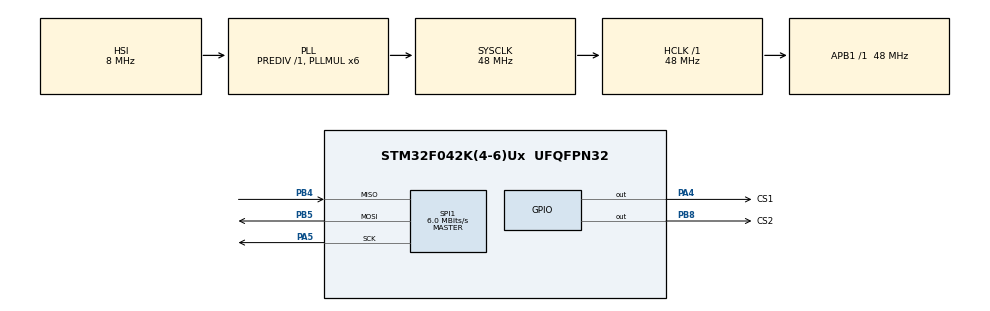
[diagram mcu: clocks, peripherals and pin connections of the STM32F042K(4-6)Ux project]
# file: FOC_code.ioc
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Dma.Request0=SPI1_RX
Dma.Request1=SPI1_TX
Dma.SPI1_RX.0.Direction=DMA_PERIPH_TO_MEMORY
Dma.SPI1_RX.0.Instance=DMA1_Channel2
Dma.SPI1_RX.0.MemDataAlignment=DMA_MDATAALIGN_HALFWORD
Dma.SPI1_RX.0.MemInc=DMA_MINC_ENABLE
Dma.SPI1_RX.0.Mode=DMA_NORMAL
Dma.SPI1_RX.0.PeriphDataAlignment=DMA_PDATAALIGN_HALFWORD
Dma.SPI1_RX.0.PeriphInc=DMA_PINC_DISABLE
Dma.SPI1_RX.0.Priority=DMA_PRIORITY_LOW
Dma.SPI1_TX.1.Direction=DMA_MEMORY_TO_PERIPH
Dma.SPI1_TX.1.Instance=DMA1_Channel3
Dma.SPI1_TX.1.MemDataAlignment=DMA_MDATAALIGN_HALFWORD
Dma.SPI1_TX.1.MemInc=DMA_MINC_ENABLE
Dma.SPI1_TX.1.Mode=DMA_NORMAL
Dma.SPI1_TX.1.PeriphDataAlignment=DMA_PDATAALIGN_HALFWORD
Dma.SPI1_TX.1.PeriphInc=DMA_PINC_DISABLE
Dma.SPI1_TX.1.Priority=DMA_PRIORITY_LOW
Mcu.Family=STM32F0
Mcu.Name=STM32F042K(4-6)Ux
Mcu.Package=UFQFPN32
NVIC.DMA1_Channel2_3_IRQn=true\:0\:0\:false\:false\:true\:false\:true\:true
NVIC.SPI1_IRQn=true\:0\:0\:false\:false\:true\:true\:true\:true
NVIC.TIM1_CC_IRQn=true\:0\:0\:false\:false\:true\:true\:true\:true
NVIC.TIM2_IRQn=true\:0\:0\:false\:false\:true\:true\:true\:true
NVIC.TIM3_IRQn=true\:0\:0\:false\:false\:true\:true\:true\:true
PA13.Mode=Serial_Wire
PA13.Signal=SYS_SWDIO
PA14.Mode=Serial_Wire
PA14.Signal=SYS_SWCLK
PA4.GPIO_Label=CS1
PA4.Signal=GPIO_Output
PA5.Mode=Full_Duplex_Master
PA5.Signal=SPI1_SCK
PB4.Mode=Full_Duplex_Master
PB4.Signal=SPI1_MISO
PB5.Mode=Full_Duplex_Master
PB5.Signal=SPI1_MOSI
PB8.GPIO_Label=CS2
PB8.Signal=GPIO_Output
ProjectManager.HeapSize=0x200
ProjectManager.StackSize=0x400
ProjectManager.TargetToolchain=STM32CubeIDE
RCC.AHBFreq_Value=48000000
RCC.APB1Freq_Value=48000000
RCC.APB1TimFreq_Value=48000000
RCC.HCLKFreq_Value=48000000
RCC.PLLMUL=RCC_PLL_MUL6
RCC.SYSCLKFreq_VALUE=48000000
RCC.SYSCLKSource=RCC_SYSCLKSOURCE_PLLCLK
SPI1.BaudRatePrescaler=SPI_BAUDRATEPRESCALER_8
SPI1.CalculateBaudRate=6.0 MBits/s
SPI1.DataSize=SPI_DATASIZE_16BIT
SPI1.Direction=SPI_DIRECTION_2LINES
SPI1.Mode=SPI_MODE_MASTER
SPI1.VirtualType=VM_MASTER
TIM1.AutoReloadPreload=TIM_AUTORELOAD_PRELOAD_ENABLE
TIM1.CounterMode=TIM_COUNTERMODE_CENTERALIGNED3
TIM1.Period=1200
TIM1.TIM_MasterOutputTrigger=TIM_TRGO_UPDATE
TIM1.TIM_MasterSlaveMode=TIM_MASTERSLAVEMODE_ENABLE
TIM2.CounterMode=TIM_COUNTERMODE_CENTERALIGNED3
TIM2.Period=1200
TIM2.TIM_SlaveMode=TIM_SLAVEMODE_TRIGGER
TIM3.CounterMode=TIM_COUNTERMODE_CENTERALIGNED3
TIM3.Period=1200
TIM3.TIM_SlaveMode=TIM_SLAVEMODE_TRIGGER
VP_IWDG_VS_IWDG.Mode=IWDG_Activate
VP_TIM1_VS_ClockSourceINT.Mode=Internal
VP_TIM2_VS_ClockSourceINT.Mode=Internal
VP_TIM2_VS_ClockSourceITR.Mode=TriggerSource_ITR0
VP_TIM2_VS_ControllerModeTrigger.Mode=Trigger Mode
VP_TIM3_VS_ClockSourceINT.Mode=Internal
VP_TIM3_VS_ClockSourceITR.Mode=TriggerSource_ITR0
VP_TIM3_VS_ControllerModeTrigger.Mode=Trigger Mode
board=custom

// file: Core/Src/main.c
/* USER CODE BEGIN Header */
/**
  ******************************************************************************
  * @file           : main.c
  * @brief          : Main program body
  ******************************************************************************
  * @attention
  *
  * Copyright (c) 2025 STMicroelectronics.
  * All rights reserved.
  *
  * This software is licensed under terms that can be found in the LICENSE file
  * in the root directory of this software component.
  * If no LICENSE file comes with this software, it is provided AS-IS.
  *
  ******************************************************************************
  */
/* USER CODE END Header */
#include "main.h"
#include "dma.h"
#include "iwdg.h"
#include "spi.h"
#include "tim.h"
#include "gpio.h"

/* USER CODE BEGIN Includes */
#include "AS5147P.h"
#include "foc_control.h"
#include "foc_transform.h"
#include "motor_current.h"
/* USER CODE END Includes */

/* USER CODE BEGIN PV */
AS5147P_Handle_t AS5147P_handle_1;
volatile uint16_t g_as5147p_angle14;
volatile uint16_t g_as5147p_last_raw;
volatile uint8_t g_as5147p_read_ok;
volatile uint8_t g_as5147p_err_prev; /* last frame's EF (previous-command error) */
volatile HAL_StatusTypeDef g_as5147p_hal_st;
float theta_mech_rad = 0;
volatile double g_mah_phase_a;
volatile double g_mah_phase_b;
volatile double g_mah_phase_c;
/* USER CODE END PV */

void SystemClock_Config(void);

int main(void)
{

  /* MCU Configuration--------------------------------------------------------*/

  /* Reset of all peripherals, Initializes the Flash interface and the Systick. */
  HAL_Init();

  /* Configure the system clock */
  SystemClock_Config();

  /* USER CODE BEGIN SysInit */
//#ifdef DEBUG
//  /* Let IWDG stop counting while the CPU is halted so breakpoints / step do not reset the chip. */
//  __HAL_RCC_DBGMCU_CLK_ENABLE();
//  __HAL_DBGMCU_FREEZE_IWDG();
//#endif
  /* USER CODE END SysInit */

  /* Initialize all configured peripherals */
  MX_GPIO_Init();
  MX_DMA_Init();
  MX_SPI1_Init();
  MX_TIM1_Init();
  MX_TIM2_Init();
  MX_TIM3_Init();
  MX_IWDG_Init();
  /* USER CODE BEGIN 2 */
  AS5147P_Init(&AS5147P_handle_1, &hspi1, AS5147P_CS_GPIO_Port, AS5147P_CS_Pin);

//  Foc_Init();
//  FocVirtualAngle_SetThetaRad(0.0f);
//  FocControl_Init();
//  FocControl_SetElectricalSpeedRadS(6.2831853f * 2.0f); /* 2 Hz electrical; tune */
//  FocControl_SetIdqRef(0.0f, 0.10f);                    /* small torque (A); tune */
//
//  MotorCurrent_Init();
//  MotorCurrent_CalibrateOffsets(128);
//  MotorCurrent_ResetMahPerPhase();
//
//  Motor_PWM_SyncStart();
//  FocControl_SetEnable(1u);
  /* USER CODE END 2 */

  /* Infinite loop */
  while (1)
  {

    /* USER CODE BEGIN 3 */
    uint16_t raw = 0u;
    g_as5147p_hal_st = AS5147P_ReadAngleDAEC(&AS5147P_handle_1, &raw);
    g_as5147p_last_raw = raw;

    if (g_as5147p_hal_st == HAL_OK && AS5147P_DataParityOk(raw) != 0u)
    {
      g_as5147p_angle14 = AS5147P_DataBits(raw);
      theta_mech_rad = (float)g_as5147p_angle14 * (2.0f * 3.14159265f / 16384.0f);
    }

    /* Still kick the dog while running; in DEBUG builds DBGMCU freeze covers halted time. */
//    HAL_IWDG_Refresh(&hiwdg);
//    HAL_Delay(1);
  /* USER CODE END 3 */
}
}

void SystemClock_Config(void)
{
  RCC_OscInitTypeDef RCC_OscInitStruct = {0};
  RCC_ClkInitTypeDef RCC_ClkInitStruct = {0};

  /** Initializes the RCC Oscillators according to the specified parameters
  * in the RCC_OscInitTypeDef structure.
  */
  RCC_OscInitStruct.OscillatorType = RCC_OSCILLATORTYPE_HSI|RCC_OSCILLATORTYPE_LSI;
  RCC_OscInitStruct.HSIState = RCC_HSI_ON;
  RCC_OscInitStruct.HSICalibrationValue = RCC_HSICALIBRATION_DEFAULT;
  RCC_OscInitStruct.LSIState = RCC_LSI_ON;
  RCC_OscInitStruct.PLL.PLLState = RCC_PLL_ON;
  RCC_OscInitStruct.PLL.PLLSource = RCC_PLLSOURCE_HSI;
  RCC_OscInitStruct.PLL.PLLMUL = RCC_PLL_MUL6;
  RCC_OscInitStruct.PLL.PREDIV = RCC_PREDIV_DIV1;
  if (HAL_RCC_OscConfig(&RCC_OscInitStruct) != HAL_OK)
  {
    Error_Handler();
  }

  /** Initializes the CPU, AHB and APB buses clocks
  */
  RCC_ClkInitStruct.ClockType = RCC_CLOCKTYPE_HCLK|RCC_CLOCKTYPE_SYSCLK
                              |RCC_CLOCKTYPE_PCLK1;
  RCC_ClkInitStruct.SYSCLKSource = RCC_SYSCLKSOURCE_PLLCLK;
  RCC_ClkInitStruct.AHBCLKDivider = RCC_SYSCLK_DIV1;
  RCC_ClkInitStruct.APB1CLKDivider = RCC_HCLK_DIV1;

  if (HAL_RCC_ClockConfig(&RCC_ClkInitStruct, FLASH_LATENCY_1) != HAL_OK)
  {
    Error_Handler();
  }
}

void Error_Handler(void)
{
  __disable_irq();
  while (1)
  {
  }
}
